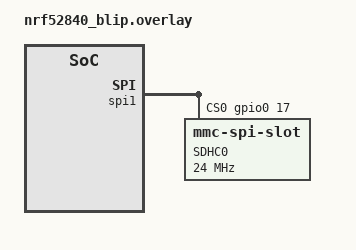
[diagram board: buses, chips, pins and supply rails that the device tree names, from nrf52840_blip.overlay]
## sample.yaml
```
sample:
  name: Fat filesystem sample
tests:
  sample.subsys.fs:
    build_only: true
    platform_whitelist: nrf52840_blip olimexino_stm32 mimxrt1050_evk
    tags: filesystem
```

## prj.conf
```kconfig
CONFIG_SPI=y
CONFIG_SPI_1=y
CONFIG_DISK_ACCESS=y
CONFIG_DISK_ACCESS_SDHC=y
CONFIG_DISK_SDHC_VOLUME_NAME="SD"
CONFIG_LOG=y
CONFIG_FILE_SYSTEM=y
CONFIG_FAT_FILESYSTEM_ELM=y
CONFIG_PRINTK=y
```

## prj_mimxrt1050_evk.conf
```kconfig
CONFIG_GPIO_MCUX_IGPIO_1=y
CONFIG_GPIO_MCUX_IGPIO_2=y
CONFIG_DISK_ACCESS=y
CONFIG_DISK_ACCESS_SDHC=y
CONFIG_DISK_ACCESS_USDHC=y
CONFIG_DISK_ACCESS_USDHC1=y
CONFIG_DISK_SDHC_VOLUME_NAME="SD"
CONFIG_LOG=y
CONFIG_FILE_SYSTEM=y
CONFIG_FAT_FILESYSTEM_ELM=y
CONFIG_PRINTK=y
```

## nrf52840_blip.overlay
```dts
/*
 * Copyright (c) 2019 Tavish Naruka <tavishnaruka@gmail.com>
 *
 * SPDX-License-Identifier: Apache-2.0
 */

&spi1 {
        status = "okay";
        cs-gpios = <&gpio0 17 0>;

        sdhc0: sdhc@0 {
                compatible = "zephyr,mmc-spi-slot";
                reg = <0>;
                status = "okay";
                label = "SDHC0";
                spi-max-frequency = <24000000>;
        };
};
```

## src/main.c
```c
/*
 * Copyright (c) 2019 Tavish Naruka <tavishnaruka@gmail.com>
 *
 * SPDX-License-Identifier: Apache-2.0
 */

/* Sample which uses the filesystem API and SDHC driver */

#include <zephyr.h>
#include <device.h>
#include <disk_access.h>
#include <logging/log.h>
#include <fs/fs.h>
#include <ff.h>

LOG_MODULE_REGISTER(main);

static int lsdir(const char *path);

static FATFS fat_fs;
/* mounting info */
static struct fs_mount_t mp = {
	.type = FS_FATFS,
	.fs_data = &fat_fs,
};

/*
*  Note the fatfs library is able to mount only strings inside _VOLUME_STRS
*  in ffconf.h
*/
static const char *disk_mount_pt = "/SD:";

void main(void)
{
	/* raw disk i/o */
	do {
		static const char *disk_pdrv = "SD";
		u64_t memory_size_mb;
		u32_t block_count;
		u32_t block_size;

		if (disk_access_init(disk_pdrv) != 0) {
			LOG_ERR("Storage init ERROR!");
			break;
		}

		if (disk_access_ioctl(disk_pdrv,
				DISK_IOCTL_GET_SECTOR_COUNT, &block_count)) {
			LOG_ERR("Unable to get sector count");
			break;
		}
		LOG_INF("Block count %u", block_count);

		if (disk_access_ioctl(disk_pdrv,
				DISK_IOCTL_GET_SECTOR_SIZE, &block_size)) {
			LOG_ERR("Unable to get sector size");
			break;
		}
		printk("Sector size %u\n", block_size);

		memory_size_mb = (u64_t)block_count * block_size;
		printk("Memory Size(MB) %u\n", (u32_t)memory_size_mb>>20);
	} while (0);

	mp.mnt_point = disk_mount_pt;

	int res = fs_mount(&mp);

	if (res == FR_OK) {
		printk("Disk mounted.\n");
		lsdir(disk_mount_pt);
	} else {
		printk("Error mounting disk.\n");
	}

	while (1) {
		k_sleep(1000);
	}
}

static int lsdir(const char *path)
{
	int res;
	struct fs_dir_t dirp;
	static struct fs_dirent entry;

	/* Verify fs_opendir() */
	res = fs_opendir(&dirp, path);
	if (res) {
		printk("Error opening dir %s [%d]\n", path, res);
		return res;
	}

	printk("\nListing dir %s ...\n", path);
	for (;;) {
		/* Verify fs_readdir() */
		res = fs_readdir(&dirp, &entry);

		/* entry.name[0] == 0 means end-of-dir */
		if (res || entry.name[0] == 0) {
			break;
		}

		if (entry.type == FS_DIR_ENTRY_DIR) {
			printk("[DIR ] %s\n", entry.name);
		} else {
			printk("[FILE] %s (size = %zu)\n",
				entry.name, entry.size);
		}
	}

	/* Verify fs_closedir() */
	fs_closedir(&dirp);

	return res;
}
```
